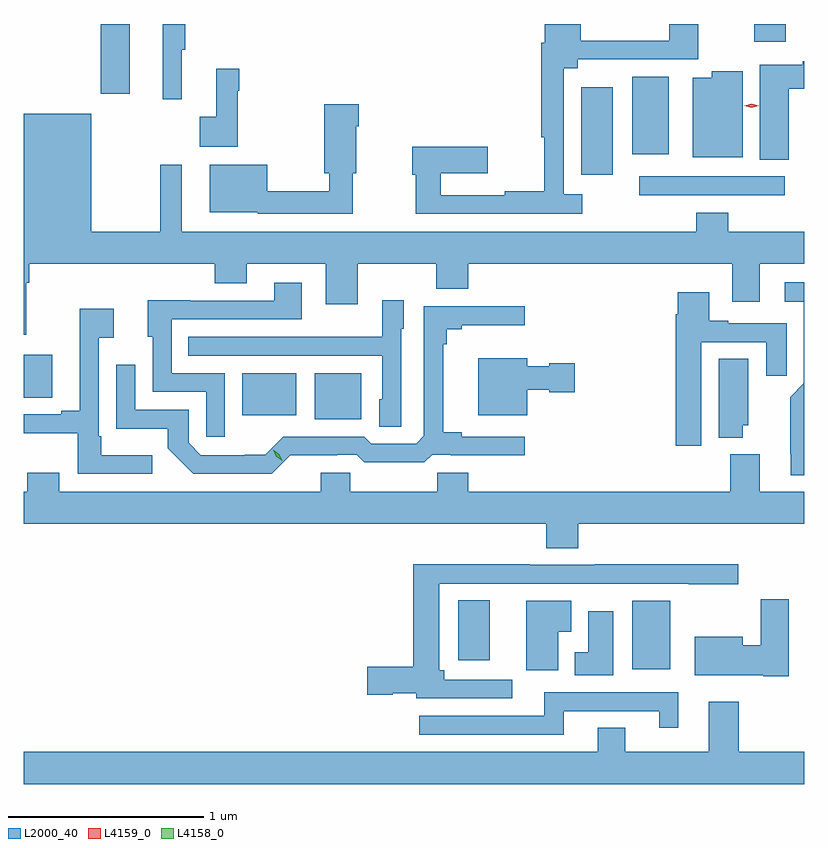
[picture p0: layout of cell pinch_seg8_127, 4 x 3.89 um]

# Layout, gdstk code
import gdstk
lib = gdstk.Library(unit=1e-6, precision=1e-09)
def R(c, l, rs):  # rectangles x0, y0, x1, y1
    for r in rs: c.add(gdstk.rectangle(r[:2], r[2:], *l))
def P(c, l, *ps):  # polygons
    for p in ps: c.add(gdstk.Polygon(p, *l))
L2000_40 = (2000, 40)
L4158_0 = (4158, 0)
L4159_0 = (4159, 0)

pinch_seg8_127 = lib.new_cell('pinch_seg8_127')
R(pinch_seg8_127, L2000_40, [(756.104,1150.388,756.298,1150.738), (755.213,1150.434,755.374,1150.742), (754.478,1151.669,754.717,1151.905), (754.106,1151.69,754.384,1151.905), (752.986,1151.779,753.133,1151.998), (756.141,1152.816,756.886,1152.912), (755.843,1152.921,756.004,1153.369), (756.104,1153.025,756.292,1153.423), (753.382,1153.335,753.529,1153.693), (756.73,1153.602,756.89,1153.693)])
P(pinch_seg8_127, L2000_40, [(753.797,1153.56),(753.815,1153.56),(753.815,1153.693),(753.698,1153.693),(753.698,1153.308),(753.797,1153.308)],
  [(755.848,1152.82),(755.754,1152.82),(755.754,1153.466),(755.824,1153.466),(755.824,1153.512),(756.441,1153.512),(756.441,1153.693),(756.293,1153.693),(756.293,1153.608),(755.839,1153.608),(755.839,1153.693),(755.657,1153.693),(755.657,1153.598),(755.638,1153.598),(755.638,1153.113),(755.653,1153.113),(755.653,1152.836),(755.452,1152.836),(755.452,1152.816),(755.123,1152.816),(755.123,1152.929),(755.365,1152.929),(755.365,1153.064),(754.976,1153.064),(754.976,1152.922),(754.995,1152.922),(754.995,1152.72),(755.848,1152.72)],
  [(756.905,1153.361),(756.986,1153.361),(756.986,1153.503),(756.978,1153.503),(756.978,1153.483),(756.758,1153.483),(756.758,1152.997),(756.905,1152.997)],
  [(754.084,1153.352),(754.091,1153.352),(754.091,1153.465),(753.974,1153.465),(753.974,1153.217),(753.888,1153.217),(753.888,1153.064),(754.084,1153.064)],
  [(756.67,1153.45),(756.512,1153.45),(756.512,1153.417),(756.413,1153.417),(756.413,1153.01),(756.67,1153.01)],
  [(754.672,1152.929),(754.69,1152.929),(754.69,1153.169),(754.703,1153.169),(754.703,1153.282),(754.525,1153.282),(754.525,1152.929),(754.551,1152.929),(754.551,1152.836),(754.234,1152.836),(754.234,1152.973),(753.941,1152.973),(753.941,1152.728),(754.185,1152.728),(754.185,1152.72),(754.672,1152.72)],
  [(753.001,1152.368),(753.014,1152.368),(753.014,1152.464),(753.965,1152.464),(753.965,1152.365),(754.129,1152.365),(754.129,1152.464),(754.535,1152.464),(754.535,1152.258),(754.699,1152.258),(754.699,1152.464),(755.099,1152.464),(755.099,1152.336),(755.263,1152.336),(755.263,1152.464),(756.617,1152.464),(756.617,1152.27),(756.757,1152.27),(756.757,1152.464),(756.986,1152.464),(756.986,1152.628),(756.596,1152.628),(756.596,1152.727),(756.431,1152.727),(756.431,1152.628),(753.796,1152.628),(753.796,1152.973),(753.687,1152.973),(753.687,1152.628),(753.334,1152.628),(753.334,1153.234),(752.986,1153.234),(752.986,1152.102),(753.001,1152.102)],
  [(756.986,1152.37),(756.885,1152.37),(756.885,1152.269),(756.983,1152.269),(756.983,1151.852),(756.913,1151.782),(756.913,1151.491),(756.917,1151.491),(756.917,1151.381),(756.986,1151.381)],
  [(754.017,1151.904),(753.744,1151.904),(753.744,1152.18),(754.411,1152.18),(754.411,1152.367),(754.271,1152.367),(754.271,1152.276),(753.841,1152.276),(753.841,1152.278),(753.623,1152.278),(753.623,1152.09),(753.648,1152.09),(753.648,1151.808),(753.921,1151.808),(753.921,1151.58),(754.017,1151.58)],
  [(756.457,1152.063),(756.791,1152.063),(756.791,1151.892),(756.895,1151.892),(756.895,1152.159),(756.595,1152.159),(756.595,1152.172),(756.499,1152.172),(756.499,1152.319),(756.338,1152.319),(756.338,1152.206),(756.326,1152.206),(756.326,1151.532),(756.457,1151.532)],
  [(754.92,1152.132),(754.933,1152.132),(754.933,1152.277),(754.824,1152.277),(754.824,1152.091),(754.507,1152.091),(754.507,1152.09),(753.829,1152.09),(753.829,1151.994),(754.824,1151.994),(754.824,1151.772),(754.808,1151.772),(754.808,1151.629),(754.92,1151.629)],
  [(754.352,1151.483),(754.592,1151.483),(754.592,1151.487),(754.692,1151.487),(754.732,1151.448),(755.039,1151.448),(755.079,1151.487),(755.173,1151.487),(755.173,1151.483),(755.554,1151.483),(755.554,1151.58),(755.23,1151.58),(755.23,1151.603),(755.135,1151.603),(755.135,1152.053),(755.153,1152.053),(755.153,1152.13),(755.23,1152.13),(755.23,1152.149),(755.554,1152.149),(755.554,1152.246),(755.037,1152.246),(755.037,1151.583),(754.998,1151.544),(754.767,1151.544),(754.731,1151.58),(754.317,1151.58),(754.223,1151.486),(754.118,1151.486),(754.118,1151.484),(753.894,1151.484),(753.831,1151.547),(753.831,1151.718),(753.558,1151.718),(753.558,1151.947),(753.462,1151.947),(753.462,1151.621),(753.724,1151.621),(753.724,1151.519),(753.854,1151.388),(754.257,1151.388)],
  [(753.646,1151.485),(753.385,1151.485),(753.385,1151.581),(753.372,1151.581),(753.372,1152.086),(753.448,1152.086),(753.448,1152.235),(753.275,1152.235),(753.275,1151.713),(753.179,1151.713),(753.179,1151.694),(752.986,1151.694),(752.986,1151.597),(753.264,1151.597),(753.264,1151.388),(753.646,1151.388)],
  [(755.566,1151.819),(755.679,1151.819),(755.679,1151.807),(755.809,1151.807),(755.809,1151.954),(755.679,1151.954),(755.679,1151.941),(755.566,1151.941),(755.566,1151.98),(755.315,1151.98),(755.315,1151.69),(755.566,1151.69)],
  [(756.67,1151.637),(756.697,1151.637),(756.697,1151.978),(756.548,1151.978),(756.548,1151.573),(756.67,1151.573)],
  [(755.828,1151.132),(756.986,1151.132),(756.986,1151.296),(756.757,1151.296),(756.757,1151.488),(756.605,1151.488),(756.605,1151.296),(755.264,1151.296),(755.264,1151.394),(755.104,1151.394),(755.104,1151.296),(754.659,1151.296),(754.659,1151.394),(754.508,1151.394),(754.508,1151.296),(753.169,1151.296),(753.169,1151.395),(753.005,1151.395),(753.005,1151.296),(752.986,1151.296),(752.986,1151.132),(755.663,1151.132),(755.663,1151.008),(755.828,1151.008)],
  [(755.488,1150.335),(755.142,1150.335),(755.142,1150.383),(755.116,1150.383),(755.116,1150.827),(756.394,1150.827),(756.394,1150.822),(756.646,1150.822),(756.646,1150.925),(755.911,1150.925),(755.911,1150.923),(755.579,1150.923),(755.579,1150.925),(754.982,1150.925),(754.982,1150.4),(754.746,1150.4),(754.746,1150.258),(754.878,1150.258),(754.878,1150.265),(754.998,1150.265),(754.998,1150.239),(755.488,1150.239)],
  [(756.905,1150.747),(756.763,1150.747),(756.763,1150.511),(756.67,1150.511),(756.67,1150.555),(756.425,1150.555),(756.425,1150.358),(756.774,1150.358),(756.774,1150.351),(756.905,1150.351)],
  [(755.725,1150.58),(755.791,1150.58),(755.791,1150.738),(755.561,1150.738),(755.561,1150.383),(755.725,1150.383)],
  [(756.007,1150.684),(755.879,1150.684),(755.879,1150.474),(755.81,1150.474),(755.81,1150.358),(756.007,1150.358)],
  [(755.752,1150.173),(756.242,1150.173),(756.242,1150.089),(756.34,1150.089),(756.34,1150.269),(755.654,1150.269),(755.654,1150.149),(755.013,1150.149),(755.013,1150.053),(755.752,1150.053)],
  [(756.986,1149.964),(756.65,1149.964),(756.65,1150.222),(756.497,1150.222),(756.497,1149.964),(756.067,1149.964),(756.067,1150.088),(755.927,1150.088),(755.927,1149.964),(752.986,1149.964),(752.986,1149.8),(756.986,1149.8)])
P(pinch_seg8_127, L4158_0, [(754.312,1151.456),(754.281,1151.477),(754.265,1151.511),(754.265,1151.511),(754.265,1151.511),(754.296,1151.49),(754.312,1151.457),(754.312,1151.456)])
P(pinch_seg8_127, L4159_0, [(756.715,1153.264),(756.677,1153.273),(756.677,1153.273),(756.677,1153.274),(756.715,1153.284),(756.753,1153.275),(756.753,1153.274),(756.753,1153.274)])

lib.write_gds('pinch_seg8_127.gds')
